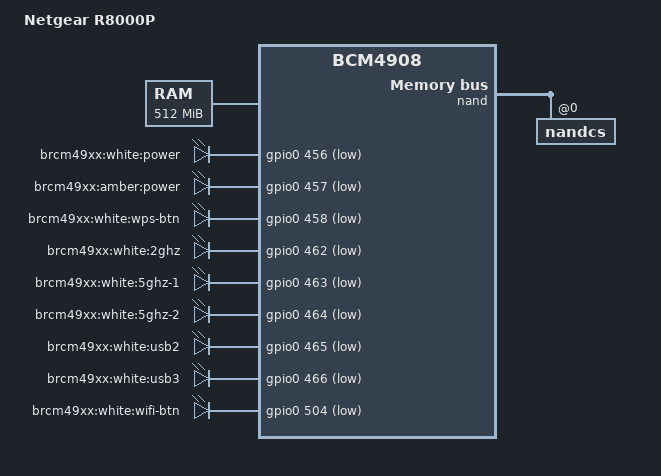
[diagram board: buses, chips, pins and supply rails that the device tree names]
#include "bcm4908.dtsi"

/ {
	model = "Netgear R8000P";

	aliases {
		serial0 = &uart0;
	};

	chosen {
		bootargs = "earlyprintk console=ttyS0,115200n8";
		linux,stdout-path = "serial0:115200n8";
	};

	memory@0 {
		device_type = "memory";
		reg = <0x0 0x0 0x0 0x20000000>;
	};

	leds {
		compatible = "gpio-leds";

		/* GPIO base is 448 (ARCH_NR_GPIOS - ngpio) = (512 - 64) = 448 */

		power-white {
			label = "brcm49xx:white:power";
			gpios = <&gpio0 456 GPIO_ACTIVE_LOW>; /* GPIO 8 */
			linux,default-trigger = "default-on";
		};

		power-amber {
			label = "brcm49xx:amber:power";
			gpios = <&gpio0 457 GPIO_ACTIVE_LOW>; /* GPIO 9 */
			linux,default-trigger = "default-off";
		};

		wps-btn {
			label = "brcm49xx:white:wps-btn";
			gpios = <&gpio0 458 GPIO_ACTIVE_LOW>; /* GPIO 10 */
			linux,default-trigger = "default-off";
		};

		2ghz {
			label = "brcm49xx:white:2ghz";
			gpios = <&gpio0 462 GPIO_ACTIVE_LOW>; /* GPIO 14 */
			linux,default-trigger = "default-off";
		};

		5ghz-1 {
			label = "brcm49xx:white:5ghz-1";
			gpios = <&gpio0 463 GPIO_ACTIVE_LOW>; /* GPIO 15 */
			linux,default-trigger = "default-off";
		};

		5ghz-2 {
			label = "brcm49xx:white:5ghz-2";
			gpios = <&gpio0 464 GPIO_ACTIVE_LOW>; /* GPIO 16 */
			linux,default-trigger = "default-off";
		};

		usb2 {
			label = "brcm49xx:white:usb2";
			gpios = <&gpio0 465 GPIO_ACTIVE_LOW>; /* GPIO 17 */
			linux,default-trigger = "default-off";
		};

		usb3 {
			label = "brcm49xx:white:usb3";
			gpios = <&gpio0 466 GPIO_ACTIVE_LOW>; /* GPIO 18 */
			linux,default-trigger = "default-off";
		};

		wifi-btn {
			label = "brcm49xx:white:wifi-btn";
			gpios = <&gpio0 504 GPIO_ACTIVE_LOW>; /* GPIO 56 */
			linux,default-trigger = "default-off";
		};
	};
};

&nand {
	nandcs@0 {
		nand-ecc-strength = <4>;
		nand-ecc-step-size = <1024>;

		nvram@0 {
			reg = <0x0 0x100000>;
		};

		bootfs@100000 {
			reg = <0x100000 0x4a0000>;
			read-only;
		};

		firmware@5a0000 {
			reg = <0x5a0000 0x3f60000>;
		};

		/* misc1 ~ misc7 */
		netgear@4500000 {
			reg = <0x4500000 0x1200000>;
			read-only;
		};

		data@5700000 {
			reg = <0x5700000 0x2800000>;
		};
	};
};
